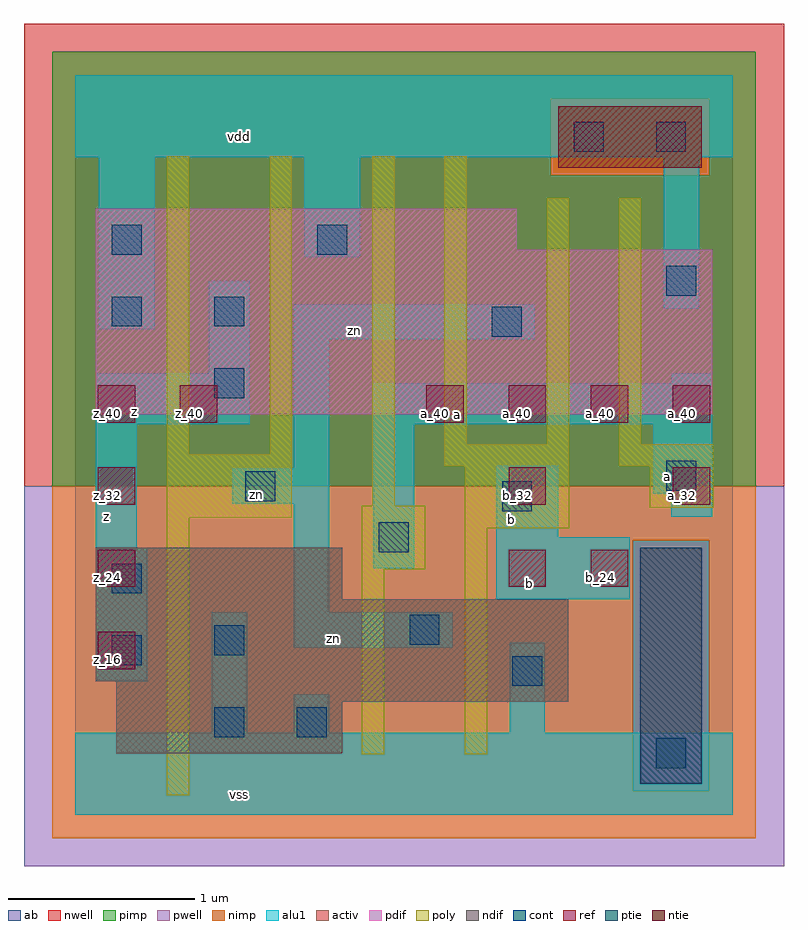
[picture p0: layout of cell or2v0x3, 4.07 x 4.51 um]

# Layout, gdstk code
import gdstk
lib = gdstk.Library(unit=1e-6, precision=2.5e-09)
def R(c, l, rs):  # rectangles x0, y0, x1, y1
    for r in rs: c.add(gdstk.rectangle(r[:2], r[2:], *l))
def A(c, l, x, y, w, h, nx, ny, dx, dy):  # array of equal rectangles
    R(c, l, [(x+i*dx, y+j*dy, x+i*dx+w, y+j*dy+h) for i in range(nx) for j in range(ny)])
ndif = (3, 0)
pdif = (4, 0)
ntie = (5, 0)
ptie = (6, 0)
ref = (24, 0)
cont = (25, 0)
pwell = (41, 0)
nwell = (42, 0)
activ = (43, 0)
pimp = (44, 0)
nimp = (45, 0)
poly = (46, 0)
alu1 = (49, 0)
ab = (63, 0)

or2v0x3 = lib.new_cell('or2v0x3')
R(or2v0x3, ndif, [(0.22,0.33,1.43,0.605), (0.22,0.605,2.64,0.715), (0.11,0.715,2.64,1.155), (0.11,1.155,1.43,1.43)])
R(or2v0x3, pdif, [(0.11,2.145,3.41,3.025), (0.11,3.025,2.365,3.245)])
R(or2v0x3, ntie, [(2.585,3.465,3.355,3.795)])
R(or2v0x3, ptie, [(3.025,0.165,3.355,1.43)])
A(or2v0x3, ref, 0.12, 0.78, 0.2, 0.2, 1, 4, 0, 0.44)
A(or2v0x3, ref, 1.88, 2.1, 0.2, 0.2, 4, 1, 0.44, 0)
R(or2v0x3, ref, [(2.32,1.22,2.52,1.42), (2.76,1.22,2.96,1.42), (2.32,1.66,2.52,1.86), (3.2,1.66,3.4,1.86), (0.56,2.1,0.76,2.3)])
R(or2v0x3, cont, [(3.11,0.25,3.27,0.41), (0.745,0.415,0.905,0.575), (1.185,0.415,1.345,0.575), (2.34,0.69,2.5,0.85), (0.195,0.8,0.355,0.96), (0.745,0.855,0.905,1.015), (1.79,0.91,1.95,1.07), (0.195,1.185,0.355,1.345), (1.625,1.405,1.785,1.565), (2.285,1.625,2.445,1.785), (0.91,1.68,1.07,1.84), (3.165,1.735,3.325,1.895), (0.745,2.23,0.905,2.39), (2.23,2.56,2.39,2.72), (0.195,2.615,0.355,2.775), (0.745,2.615,0.905,2.775), (3.165,2.78,3.325,2.94), (0.195,3,0.355,3.16), (1.295,3,1.455,3.16), (2.67,3.55,2.83,3.71), (3.11,3.55,3.27,3.71)])
R(or2v0x3, pwell, [(-0.275,-0.275,3.795,1.76)])
R(or2v0x3, nwell, [(-0.275,1.76,3.795,4.235)])
R(or2v0x3, activ, [(3.025,0.165,3.355,1.43), (0.22,0.33,1.43,0.605), (0.22,0.605,2.64,0.715), (0.11,0.715,2.64,1.155), (0.11,1.155,1.43,1.43), (0.11,2.145,3.41,3.025), (0.11,3.025,2.365,3.245), (2.585,3.465,3.355,3.795)])
R(or2v0x3, pimp, [(2.985,0.125,3.395,1.47), (-0.125,1.76,3.645,3.425), (-0.125,3.425,2.545,3.835), (3.395,3.425,3.645,3.835), (-0.125,3.835,3.645,4.085)])
R(or2v0x3, nimp, [(-0.125,-0.125,3.645,0.125), (-0.125,0.125,2.985,1.47), (3.395,0.125,3.645,1.47), (-0.125,1.47,3.645,1.76), (2.545,3.425,3.395,3.835)])
R(or2v0x3, poly, [(0.49,0.105,0.61,1.59), (1.535,0.325,1.655,1.315), (2.085,0.325,2.205,1.535), (1.535,1.315,1.875,1.655), (2.085,1.535,2.645,1.865), (0.49,1.59,1.16,1.93), (3.075,1.645,3.415,1.865), (1.59,1.655,1.71,3.525), (1.975,1.865,2.645,1.985), (2.91,1.865,3.415,1.985), (0.49,1.93,0.61,3.525), (1.04,1.93,1.16,3.525), (1.975,1.985,2.095,3.525), (2.525,1.985,2.645,3.305), (2.91,1.985,3.03,3.305)])
R(or2v0x3, alu1, [(0,0,3.52,0.44), (0.73,0.44,0.92,1.085), (1.17,0.44,1.36,0.645), (2.325,0.44,2.515,0.92), (0.11,0.715,0.385,1.43), (1.17,0.895,2.02,1.085), (1.17,1.085,1.36,1.665), (2.255,1.155,2.97,1.485), (1.595,1.32,1.815,2.09), (0.11,1.43,0.33,2.09), (2.255,1.485,2.585,1.87), (3.19,1.595,3.41,1.72), (0.84,1.665,1.36,1.855), (3.095,1.72,3.41,2.09), (1.17,1.855,1.36,2.545), (0.11,2.09,0.935,2.365), (1.595,2.09,3.41,2.31), (3.19,2.31,3.41,2.365), (0.715,2.365,0.935,2.86), (1.17,2.545,2.46,2.735), (0.125,2.6,0.425,3.52), (3.15,2.71,3.34,3.52), (1.225,2.985,1.525,3.52), (0,3.52,3.52,3.96)])
R(or2v0x3, ab, [(0,0,3.52,3.96)])
or2v0x3.add(gdstk.Label('vss', (0.88,0.11), layer=49, texttype=0))
or2v0x3.add(gdstk.Label('zn', (1.3825,0.9425), layer=49, texttype=0))
or2v0x3.add(gdstk.Label('b', (2.4325,1.2375), layer=49, texttype=0))
or2v0x3.add(gdstk.Label('a', (3.1725,1.8125), layer=49, texttype=0))
or2v0x3.add(gdstk.Label('b', (2.3375,1.58), layer=49, texttype=0))
or2v0x3.add(gdstk.Label('a', (2.0475,2.145), layer=49, texttype=0))
or2v0x3.add(gdstk.Label('zn', (0.97,1.7125), layer=49, texttype=0))
or2v0x3.add(gdstk.Label('z', (0.165,1.595), layer=49, texttype=0))
or2v0x3.add(gdstk.Label('zn', (1.4925,2.5925), layer=49, texttype=0))
or2v0x3.add(gdstk.Label('z', (0.315,2.1575), layer=49, texttype=0))
or2v0x3.add(gdstk.Label('vdd', (0.88,3.63), layer=49, texttype=0))
or2v0x3.add(gdstk.Label('z_40', (0.61,2.15), layer=24, texttype=0))
or2v0x3.add(gdstk.Label('a_40', (1.93,2.15), layer=24, texttype=0))
or2v0x3.add(gdstk.Label('z_16', (0.17,0.83), layer=24, texttype=0))
or2v0x3.add(gdstk.Label('z_24', (0.17,1.27), layer=24, texttype=0))
or2v0x3.add(gdstk.Label('z_32', (0.17,1.71), layer=24, texttype=0))
or2v0x3.add(gdstk.Label('z_40', (0.17,2.15), layer=24, texttype=0))
or2v0x3.add(gdstk.Label('b_24', (2.37,1.27), layer=24, texttype=0))
or2v0x3.add(gdstk.Label('b_32', (2.37,1.71), layer=24, texttype=0))
or2v0x3.add(gdstk.Label('a_40', (2.37,2.15), layer=24, texttype=0))
or2v0x3.add(gdstk.Label('b_24', (2.81,1.27), layer=24, texttype=0))
or2v0x3.add(gdstk.Label('a_40', (2.81,2.15), layer=24, texttype=0))
or2v0x3.add(gdstk.Label('a_32', (3.25,1.71), layer=24, texttype=0))
or2v0x3.add(gdstk.Label('a_40', (3.25,2.15), layer=24, texttype=0))

lib.write_gds('or2v0x3.gds')
